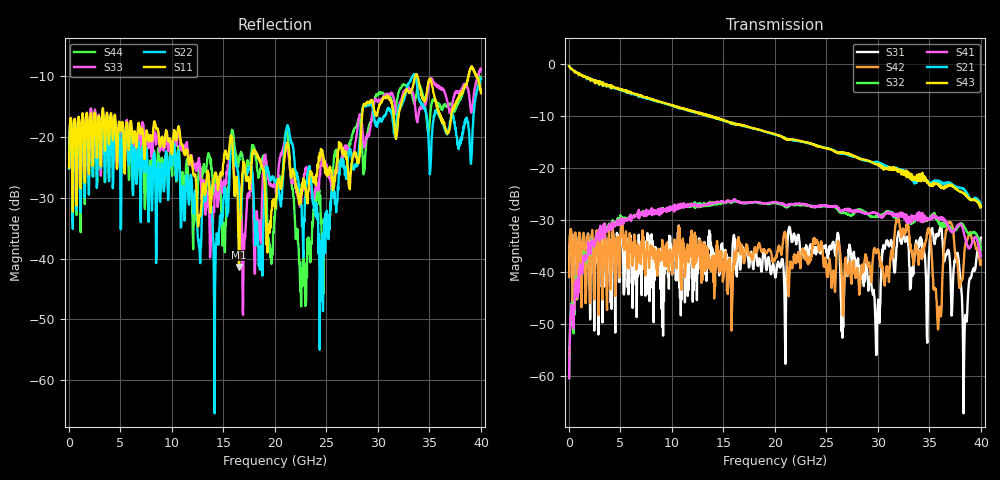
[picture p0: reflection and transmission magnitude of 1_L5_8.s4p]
! 7/15/2021 4:46:25 PM
! C:\USERS\VECTORSTARUSER\DESKTOP\SAMPLE\2021\PD7\18VPD7094DY\1-L5-8.S4P
! CHANNEL.1
! TR.MEASUREMENT
! CORRECTED.DATA
! RF.CORRECTION: FULL.FOUR.PORT.CAL.PORT.1.2.3.4
! AVERAGING.OFF
! IF.BANDWIDTH: 1KHZ
! SWEEPTYPE:  FREQ.SWEEP(Linear)
! Reference Plane Port Info
! PORT:  PORT1  PORT2  PORT3  PORT4
! DISTANCE:  0  m  0  m  0  m  0  m
! TIME:  0  s  0  s  0  s  0  s
! PHASE.OFFSET:  0 °  0 °  0 °  0 °
! LOSS:  0  dB  0  dB  0  dB  0  dB
! REF.LOSS:  0  dB  0  dB  0  dB  0  dB
! REF.FREQ:  0  Hz  0  Hz  0  Hz  0  Hz
! Power Info
! POWER:  -10  dBm  -10  dBm  -10  dBm  -10  dBm
! EFF.POWER:  -10  dBm  -10  dBm  -10  dBm  -10  dBm
# GHZ S RI R 50.0
! FREQ.GHZ  S11RE  S11IM  S12RE  S12IM  S13RE  S13IM  S14RE  S14IM
!  S21RE  S21IM  S22RE  S22IM  S23RE  S23IM  S24RE  S24IM
!  S31RE  S31IM  S32RE  S32IM  S33RE  S33IM  S34RE  S34IM
!  S41RE  S41IM  S42RE  S42IM  S43RE  S43IM  S44RE  S44IM
!; PortSelection: Port_1234
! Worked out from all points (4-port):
!   1000 points, 40 MHz to 40 GHz, reference 50 ohm
!   strongest paths, dB at 40 MHz, 10.04 GHz, 20.04 GHz, 30.04 GHz, 40 GHz:
!     S43: -0.4, -7.9, -13.5, -19.5, -27.2
!     S21: -0.4, -8.0, -13.5, -18.9, -27.3
!     S41: -60.3, -27.9, -26.5, -29.2, -36.8
!     S32: -60.2, -27.7, -26.7, -29.3, -35.7
!     S42: -40.9, -40.3, -37.2, -35.6, -37.7
!     S31: -40.9, -40.4, -41.0, -45.2, -33.4
!   lowest |S11| = -41.4 dB at 16.52 GHz (marker M1), VSWR 1.02, Z = 50.7 + j0.486 ohm
!   |S11| at or under -10 dB: start of sweep to 33.62 GHz; 33.84 GHz to 38.79 GHz (4.945 GHz wide, 13.6 % of centre); 39.64 GHz to end of sweep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
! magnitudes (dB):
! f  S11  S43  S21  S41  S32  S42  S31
! 40 MHz  -25.0  -0.4  -0.4  -60.3  -60.2  -40.9  -40.9
! 16.52 GHz  -41.4  -11.6  -11.7  -26.5  -26.5  -34.8  -36.4
! 21.16 GHz  -21.3  -14.4  -14.5  -27.0  -27.5  -35.7  -38.2
! 22.84 GHz  -28.0  -14.9  -15.0  -26.9  -27.0  -36.4  -37.1
! 36.04 GHz  -16.8  -23.4  -22.8  -29.6  -31.0  -46.6  -31.7
! 38.44 GHz  -11.6  -24.9  -24.1  -33.1  -31.4  -35.3  -49.9
! 40 GHz  -12.8  -27.2  -27.3  -36.8  -35.7  -37.7  -33.4
